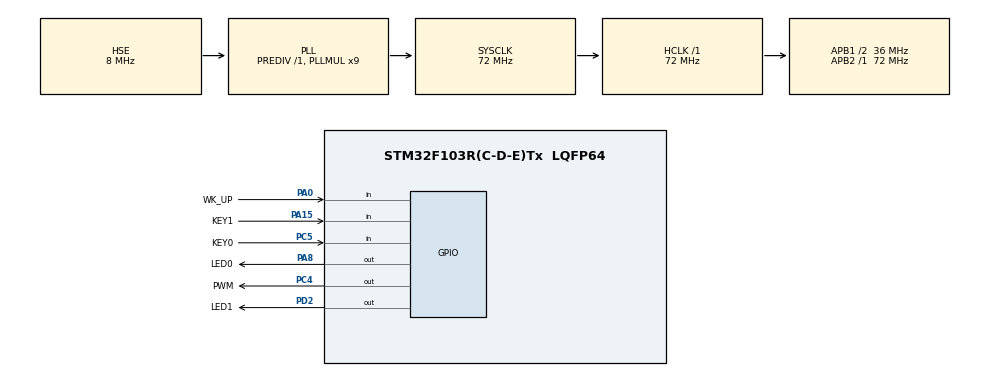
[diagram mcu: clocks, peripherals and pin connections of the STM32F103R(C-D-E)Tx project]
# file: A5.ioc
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Mcu.Family=STM32F1
Mcu.Name=STM32F103R(C-D-E)Tx
Mcu.Package=LQFP64
NVIC.PriorityGroup=NVIC_PRIORITYGROUP_4
PA0-WKUP.GPIO_Label=WK_UP
PA0-WKUP.GPIO_PuPd=GPIO_PULLDOWN
PA0-WKUP.Signal=GPIO_Input
PA13.Mode=Serial_Wire
PA13.Signal=SYS_JTMS-SWDIO
PA14.Mode=Serial_Wire
PA14.Signal=SYS_JTCK-SWCLK
PA15.GPIO_Label=KEY1
PA15.GPIO_PuPd=GPIO_PULLUP
PA15.Signal=GPIO_Input
PA8.GPIO_Label=LED0
PA8.Signal=GPIO_Output
PC14-OSC32_IN.Mode=LSE-External-Oscillator
PC14-OSC32_IN.Signal=RCC_OSC32_IN
PC15-OSC32_OUT.Mode=LSE-External-Oscillator
PC15-OSC32_OUT.Signal=RCC_OSC32_OUT
PC4.GPIO_Label=PWM
PC4.Signal=GPIO_Output
PC5.GPIO_Label=KEY0
PC5.GPIO_PuPd=GPIO_PULLUP
PC5.Signal=GPIO_Input
PD0-OSC_IN.Mode=HSE-External-Oscillator
PD0-OSC_IN.Signal=RCC_OSC_IN
PD1-OSC_OUT.Mode=HSE-External-Oscillator
PD1-OSC_OUT.Signal=RCC_OSC_OUT
PD2.GPIO_Label=LED1
PD2.GPIO_PuPd=GPIO_NOPULL
PD2.Signal=GPIO_Output
ProjectManager.HeapSize=0x200
ProjectManager.StackSize=0x400
ProjectManager.TargetToolchain=MDK-ARM V5.27
RCC.AHBFreq_Value=72000000
RCC.APB1CLKDivider=RCC_HCLK_DIV2
RCC.APB1Freq_Value=36000000
RCC.APB1TimFreq_Value=72000000
RCC.APB2Freq_Value=72000000
RCC.APB2TimFreq_Value=72000000
RCC.HCLKFreq_Value=72000000
RCC.PLLMUL=RCC_PLL_MUL9
RCC.PLLSourceVirtual=RCC_PLLSOURCE_HSE
RCC.SYSCLKFreq_VALUE=72000000
RCC.SYSCLKSource=RCC_SYSCLKSOURCE_PLLCLK
RCC.USBFreq_Value=72000000
board=custom

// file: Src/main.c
/* USER CODE BEGIN Header */
/**
  ******************************************************************************
  * @file           : main.c
  * @brief          : Main program body
  ******************************************************************************
  * @attention
  *
  * <h2><center>&copy; Copyright (c) 2021 STMicroelectronics.
  * All rights reserved.</center></h2>
  *
  * This software component is licensed by ST under BSD 3-Clause license,
  * the "License"; You may not use this file except in compliance with the
  * License. You may obtain a copy of the License at:
  *                        opensource.org/licenses/BSD-3-Clause
  *
  ******************************************************************************
  */
/* USER CODE END Header */

#include "main.h"
#include "gpio.h"

/* USER CODE BEGIN Includes */
#include "sys.h"
#include "delay.h"
#include "lcd.h"
/* USER CODE END Includes */

/* USER CODE BEGIN PM */
#define KEY0 HAL_GPIO_ReadPin(GPIOC,GPIO_PIN_5)
#define KEY1 HAL_GPIO_ReadPin(GPIOA,GPIO_PIN_15)
#define WK_UP HAL_GPIO_ReadPin(GPIOA,GPIO_PIN_0)
#define KEY0_PRES 	1
#define KEY1_PRES	2
#define WKUP_PRES   3
#define LED0 PAout(8)   	//LED0
#define LED1 PDout(2)   	//LED1
#define PWMout	PCout(4)		//PWM
/* USER CODE END PM */

void SystemClock_Config(void);
/* USER CODE BEGIN PFP */
void Menu(void);
int KEY_Scan(void);
void EssentialRequirements(void);
void BreathLamp(void);
void PWM(void);
/* USER CODE END PFP */

int main(void)
{

  /* MCU Configuration--------------------------------------------------------*/

  /* Reset of all peripherals, Initializes the Flash interface and the Systick. */
  HAL_Init();
  delay_init(72);
  LCD_Init();

  /* Configure the system clock */
  SystemClock_Config();

  /* Initialize all configured peripherals */
  MX_GPIO_Init();

  /* Infinite loop */
  /* USER CODE BEGIN WHILE */
  LCD_ShowString(30,40,200,24,24,"Mini STM32F103");
  Menu();		//菜单
    /* USER CODE END WHILE */

}

void SystemClock_Config(void)
{
  RCC_OscInitTypeDef RCC_OscInitStruct = {0};
  RCC_ClkInitTypeDef RCC_ClkInitStruct = {0};

  /** Initializes the CPU, AHB and APB busses clocks
  */
  RCC_OscInitStruct.OscillatorType = RCC_OSCILLATORTYPE_HSE;
  RCC_OscInitStruct.HSEState = RCC_HSE_ON;
  RCC_OscInitStruct.HSEPredivValue = RCC_HSE_PREDIV_DIV1;
  RCC_OscInitStruct.HSIState = RCC_HSI_ON;
  RCC_OscInitStruct.PLL.PLLState = RCC_PLL_ON;
  RCC_OscInitStruct.PLL.PLLSource = RCC_PLLSOURCE_HSE;
  RCC_OscInitStruct.PLL.PLLMUL = RCC_PLL_MUL9;
  if (HAL_RCC_OscConfig(&RCC_OscInitStruct) != HAL_OK)
  {
    Error_Handler();
  }
  /** Initializes the CPU, AHB and APB busses clocks
  */
  RCC_ClkInitStruct.ClockType = RCC_CLOCKTYPE_HCLK|RCC_CLOCKTYPE_SYSCLK
                              |RCC_CLOCKTYPE_PCLK1|RCC_CLOCKTYPE_PCLK2;
  RCC_ClkInitStruct.SYSCLKSource = RCC_SYSCLKSOURCE_PLLCLK;
  RCC_ClkInitStruct.AHBCLKDivider = RCC_SYSCLK_DIV1;
  RCC_ClkInitStruct.APB1CLKDivider = RCC_HCLK_DIV2;
  RCC_ClkInitStruct.APB2CLKDivider = RCC_HCLK_DIV1;

  if (HAL_RCC_ClockConfig(&RCC_ClkInitStruct, FLASH_LATENCY_2) != HAL_OK)
  {
    Error_Handler();
  }
}

/* USER CODE BEGIN 4 */
//按键功能
int KEY_Scan(void)
{
	static int key=1;			//用来判断按键是否按下
	if(key && (KEY0==0||KEY1==0||WK_UP==1))
	{
		HAL_Delay(1);
		key=0;					//置零防止多次判断按键
		if(KEY0==0) 		return 1;
		else if(KEY1==0)	return 2;
		else if(WK_UP==1)	return 3;
	}
	else if(KEY0==1&&KEY1==1&&WK_UP==0)		//无按键按下
		key=1;
	return 0;
}

//基本要求
void EssentialRequirements(void)
{
	int key;
	HAL_Delay(100);
	while(1)
	{
		LCD_ShowString(30,40,200,24,24,"Mini STM32F103");
		LCD_ShowString(20,70,200,24,24," Horse Race Lamp ");
		LED0=0;		//跑马灯
		LED1=1;
		HAL_Delay(50);
		LED0=1;
		LED1=0;
		HAL_Delay(50);
		key=KEY_Scan();
		if(key==1)
		{
			HAL_Delay(100);
			while(1)
			{
				LCD_ShowString(30,40,200,24,24,"Mini STM32F103");
				LCD_ShowString(20,70,200,24,24," LED Flashing    ");
				LED0=1;		//LED灯闪烁状态
				LED1=1;
				HAL_Delay(50);
				key=KEY_Scan();
				HAL_Delay(50);
				if(key==1||key==2||key==3)
				{break;}
				LED0=0;
				LED1=0;
				HAL_Delay(50);
				key=KEY_Scan();
				HAL_Delay(50);
				if(key==1||key==2||key==3)
				{break;}
			}
		}
		if(key==1||key==2||key==3)
		{
			LCD_ShowString(30,40,200,24,24,"Mini STM32F103");
			LCD_ShowString(20,70,200,24,24," LED Is Off      ");
			LED0=1;
			LED1=1;
			HAL_Delay(200);
			break;
		}
	}
}

//呼吸灯模块
void BreathLamp(void)
{
	int a,b=1001;
	int key;
	delay_ms(200);
	while(1)
	{
		LCD_ShowString(30,40,200,24,24,"Mini STM32F103");
		LCD_ShowString(20,70,200,24,24," Breath Lamp     ");
		for(a=1;a<b;a++)
		{
			LED0=1;
			LED1=1;
			delay_us(a);
			LED0=0;
			LED1=0;
			delay_us(b-a);
			key=KEY_Scan();
			if(key==1||key==2||key==3)	break;
		}
		if(key==1||key==2||key==3)		//跳出呼吸灯，熄灭
		{
			LCD_ShowString(30,40,200,24,24,"Mini STM32F103");
			LCD_ShowString(20,70,200,24,24," Breath Lamp Off");
			LED0=1;
			LED1=1;
			HAL_Delay(200);
			break;
		}
		for(a=b;a>0;a--)
		{
			LED0=1;
			LED1=1;
			delay_us(a);
			LED0=0;
			LED1=0;
			delay_us(b-a+1);
			key=KEY_Scan();
			if(key==1||key==2||key==3)	break;
		}
		if(key==1||key==2||key==3)		//跳出呼吸灯，熄灭
		{
			LCD_ShowString(30,40,200,24,24,"Mini STM32F103");
			LCD_ShowString(20,70,200,24,24," Breath Lamp Off");
			LED0=1;
			LED1=1;
			HAL_Delay(200);
			break;
		}
	}
}

//菜单模块
void Menu(void)
{
	int key;
	HAL_Delay(100);  	//防止连续判断
	while(1)
	{
		key=KEY_Scan();
		switch(key)		//菜单1
		{
			case 0:break;
			case 1:EssentialRequirements();break;		//KEY0按键实现基本要求
			case 2:BreathLamp();break;					//KEY1按键实现呼吸灯
			case 3:PWM();break;							//WK_UP按键实现PWM矩形波输出
		}
	}
}

//PWM输出
//占空比和频率
void PWM(void)
{
	int key;
//	static int out=0;			//静态按键扫描变量,用于跳出PWM()函数
								//使用静态变量有bug,后采取将out变量在第一个while循环里面定义
	PWM_100HZ_50();
	HAL_Delay(100);
	while(1)
	{
		int out;
		//100HZ,50%PWM
		PWMout=1;
		delay_ms(5);
		PWMout=0;
		delay_ms(5);
		key=KEY_Scan();
		if(key==3)
		{
			HAL_Delay(100);
			LCD_Clear(WHITE);
			PWM_100HZ_90();
			while(1)
			{
				//100HZ,90%PWM
				PWMout=0;
				delay_ms(9);
				PWMout=1;
				delay_ms(1);
				key=KEY_Scan();
				if(key==3)
				{
					HAL_Delay(100);
					LCD_Clear(WHITE);
					PWM_100HZ_25();
					while(1)
					{
						//100HZ,25%PWM
						PWMout=0;
						delay_us(2500);
						PWMout=1;
						delay_us(7500);
						key=KEY_Scan();
						if(key==3)
						{
							HAL_Delay(100);
							LCD_Clear(WHITE);
							PWM_50HZ_50();
							while(1)
							{
								//50HZ,50%PWM
								PWMout=0;
								delay_ms(10);
								PWMout=1;
								delay_ms(10);
								key=KEY_Scan();
								if(key==3)
								{
									HAL_Delay(100);
									LCD_Clear(WHITE);
									PWM_50HZ_90();
									while(1)
									{
										//50HZ,90%PWM
										PWMout=0;
										delay_ms(18);
										PWMout=1;
										delay_ms(2);
										key=KEY_Scan();
										if(key==3)
										{
											HAL_Delay(100);
											LCD_Clear(WHITE);
											PWM_50HZ_25();
											while(1)
											{
												//50HZ,25%PWM
												PWMout=0;
												delay_us(5000);
												PWMout=1;
												delay_us(15000);
												key=KEY_Scan();
												if(key==3)
												{
													HAL_Delay(100);
													LCD_Clear(WHITE);
													PWM_250HZ_50();
													while(1)
													{
														//250HZ,50%PWM
														PWMout=0;
														delay_ms(2);
														PWMout=1;
														delay_ms(2);
														key=KEY_Scan();
														if(key==3)
														{
															HAL_Delay(100);
															LCD_Clear(WHITE);
															PWM_250HZ_90();
															while(1)
															{
																//250HZ,90%PWM																	//250HZ,90%PWM
																PWMout=0;
																delay_us(3600);
																PWMout=1;
																delay_us(400);
																key=KEY_Scan();
																if(key==3)
																{
																	HAL_Delay(100);
																	LCD_Clear(WHITE);
																	PWM_250HZ_25();
																	while(1)
																	{
																		//250HZ,25%PWM
																		PWMout=0;
																		delay_us(1000);
																		PWMout=1;
																		delay_us(3000);
																		out=KEY_Scan();
																		if(out==1||out==2||out==3)
																			{LCD_Clear(WHITE);
																			LCD_ShowString(30,40,200,24,24,"Mini STM32F103");
																			break;}

																	}
																}
																if(out==1||out==2||out==3)
																{break;}
															}
														}
														if(out==1||out==2||out==3)
																{break;}
													}
												}
												if(out==1||out==2||out==3)
													{break;}
											}
										}
										if(out==1||out==2||out==3)
											{break;}
									}
								}
								if(out==1||out==2||out==3)
									{break;}
							}
						}
						if(out==1||out==2||out==3)
							{break;}
					}
				}
				if(out==1||out==2||out==3)
					{break;}
			}
		}
		if(out==1||out==2||out==3)
			{break;}
	}
}
/* USER CODE END 4 */

void Error_Handler(void)
{
}

/************************ (C) COPYRIGHT STMicroelectronics *****END OF FILE****/
